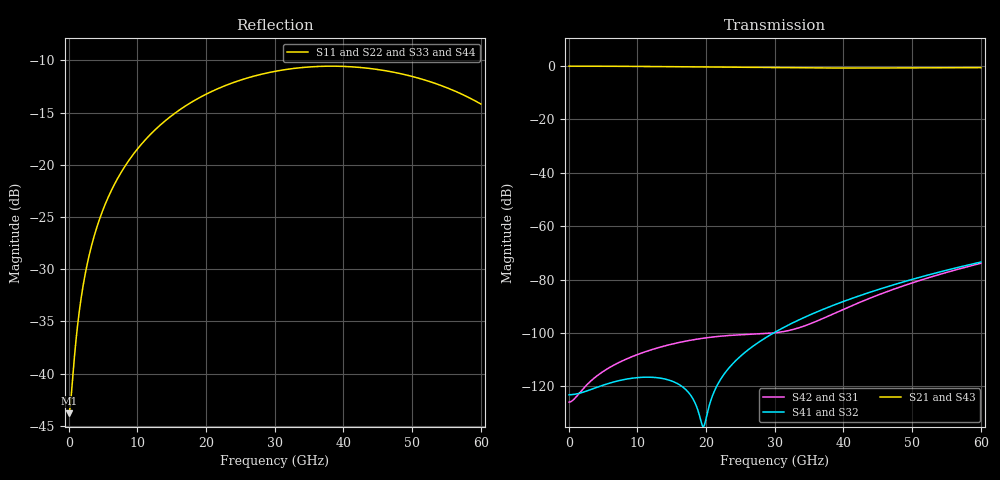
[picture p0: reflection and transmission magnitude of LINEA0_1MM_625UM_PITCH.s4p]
! TOUCHSTONE file generated by CST MICROWAVE STUDIO
! Date and time: Wed Oct 14 15:40:13 2026
! Project name: LINEA0_1MM_625UM_PITCH.cst
! Parameters = {CHANNEL_PITCH=0.625; GAP=0.00415; L=1; L1=0.02; L2=0.086; L3=0.066; NCELL=1; PITCH=0.18; START_POSITION=0.08; W1=0.003; W2=0.004; W3=0.009; WG=0.04985; gap_oxr=0.00125; linbo3_thickness=0.0002; mtx=0.002; oxiDinE=0.0014; w=0.15; ws=0.035}
! Header version: 2024
! Port assignment regex: !\s*Touchstone port\s*([0-9]+)\s*=\s*(CST MWS port|CST DES external port|CST DES block port)\s*(.+)\s* \(\"(.*)\"\)(\s*mode\s*([0-9]+))?.*
! Touchstone port assignment:
! Touchstone port 1 = CST MWS port 1 ("")
! Touchstone port 2 = CST MWS port 2 ("")
! Touchstone port 3 = CST MWS port 3 ("")
! Touchstone port 4 = CST MWS port 4 ("")
# GHz S MA R 50
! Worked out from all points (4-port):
!   1000 points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, 60 MHz to 60 GHz, reference 50 ohm
!   strongest paths, dB at 60 MHz, 15.06 GHz, 30.06 GHz, 45.06 GHz, 60 GHz:
!     S21: -0.1, -0.3, -0.6, -0.7, -0.6
!     S43: -0.1, -0.3, -0.6, -0.7, -0.6
!     S41: -123.1, -118.0, -99.6, -83.7, -73.4
!     S32: -123.1, -118.0, -99.6, -83.7, -73.4
!     S42: -125.9, -104.1, -99.9, -85.7, -73.9
!     S31: -125.9, -104.1, -99.9, -85.7, -73.9
!   lowest |S11| = -43.8 dB at 60 MHz (marker M1), VSWR 1.01, Z = 50.6 - j0.0758 ohm
!   |S11| at or under -10 dB: start of sweep to end of sweep
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0.06  0.006461 -6.7  0.9921 -0.2  5.078e-07 177.5  6.98e-07 0.4
      0.9921 -0.2  0.006461 -6.7  6.979e-07 0.4  5.079e-07 177.5
      5.077e-07 177.5  6.979e-07 0.4  0.006464 -6.6  0.9921 -0.2
      6.979e-07 0.4  5.077e-07 177.5  0.9921 -0.2  0.006464 -6.6
1.98  0.025 -79.7  0.9917 -5.0  8.692e-07 122.7  7.714e-07 12.7
      0.9917 -5.0  0.025 -79.7  7.713e-07 12.7  8.693e-07 122.7
      8.692e-07 122.7  7.713e-07 12.7  0.025 -79.7  0.9917 -5.0
      7.713e-07 12.7  8.692e-07 122.7  0.9917 -5.0  0.025 -79.7
4.56  0.05574 -94.0  0.9899 -11.5  1.737e-06 99.5  1.009e-06 17.6
      0.9899 -11.5  0.05574 -94.0  1.009e-06 17.6  1.737e-06 99.5
      1.737e-06 99.5  1.009e-06 17.6  0.05574 -94.0  0.9899 -11.5
      1.009e-06 17.6  1.737e-06 99.5  0.9899 -11.5  0.05574 -94.0
15.36  0.1754 -123.6  0.9695 -38.4  6.343e-06 53.9  1.209e-06 -24.5
       0.9695 -38.4  0.1754 -123.6  1.209e-06 -24.5  6.343e-06 53.9
       6.343e-06 53.9  1.209e-06 -24.5  0.1754 -123.6  0.9695 -38.4
       1.209e-06 -24.5  6.343e-06 53.9  0.9695 -38.4  0.1754 -123.6
37.44  0.2962 -175.1  0.9176 -89.3  1.982e-05 -144.1  2.915e-05 17.1
       0.9176 -89.3  0.2962 -175.1  2.915e-05 17.1  1.982e-05 -144.1
       1.982e-05 -144.1  2.915e-05 17.1  0.2962 -175.1  0.9176 -89.3
       2.915e-05 17.1  1.982e-05 -144.1  0.9176 -89.3  0.2962 -175.1
51.36  0.2572 154.8  0.9247 -120.6  9.879e-05 108.6  0.000113 -68.3
       0.9247 -120.6  0.2572 154.8  0.000113 -68.3  9.879e-05 108.6
       9.879e-05 108.6  0.000113 -68.3  0.2571 154.8  0.9246 -120.6
       0.000113 -68.3  9.879e-05 108.6  0.9246 -120.6  0.2571 154.8
60  0.1952 137.6  0.9317 -141.1  0.0002021 51.1  0.0002133 -124.5
    0.9317 -141.1  0.1952 137.6  0.0002133 -124.5  0.0002021 51.1
    0.0002021 51.1  0.0002134 -124.5  0.1952 137.6  0.9317 -141.1
    0.0002134 -124.5  0.0002021 51.1  0.9317 -141.1  0.1952 137.6
